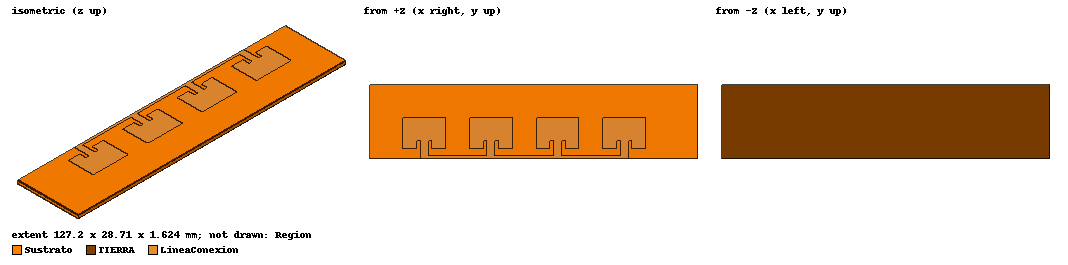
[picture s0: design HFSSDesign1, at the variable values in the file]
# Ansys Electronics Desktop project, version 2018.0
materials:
  vacuum: permittivity=1
  FR4_epoxy: permittivity=4.4 dielectric_loss_tangent=0.02
  copper: permeability=0.999991 conductivity=58000000
  air: permittivity=1.0006 permeability=1.0000004

design HFSSDesign1 (HFSS, DrivenModal, model units mm)
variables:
  lanbda = 51.72mm
  W = 16.53mm
  L = 11.78mm
  WL = 3mm
  LL = 6.95mm
  h = 1.524mm
  t = 0.05mm
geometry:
  Sustrato [FR4_epoxy] = box(corner=(0mm, 0mm, t), size=(((lanbda/2)+W)*3, (LL-(L/4)+L+(lanbda/4)), h))
  TIERRA [copper] = box(corner=(0mm, 0mm, 0mm), size=(((lanbda/2)+W)*3, (LL-(L/4)+L+(lanbda/4)), t))
  PARCHE = box(corner=(lanbda/4, LL-(L/4), (t+h)), size=(W, L, t))
  LINEA = box(corner=((lanbda/4)+(W/2)-(WL/2), 0mm, (h+t)), size=(wl, ll, t))
  CORTE = box(corner=(lanbda/4+W/2-WL, LL-L/4, t+h), size=(2*WL, L/4, t))
  PARCHE.subtract(CORTE)
  PARCHE.unite(LINEA)
  PUERTO = rectangle(corner=((lanbda/4)+(W/2)-(WL/2), 0mm, t), z_size=h, x_size=WL)
  Region [air] = region(absolute_offset=lanbda/4 on all sides)
  PARCHE1 = box(corner=((lanbda/4)*3, LL-(L/4), (t+h)), size=(W, L, t))
  CORTE1 = box(corner=((lanbda/4)*3+W/2-WL, LL-L/4, t+h), size=((2*WL), L/4, t))
  PARCHE1.subtract(CORTE1)
  LINEA1 = box(corner=((lanbda/4)*3+(W/2)-(WL/2), 0mm, (h+t)), size=(wl, ll, t))
  PARCHE1.unite(LINEA1)
  PARCHE2 = box(corner=((lanbda/4)*5, LL-(L/4), (t+h)), size=(W, L, t))
  CORTE2 = box(corner=((lanbda/4)*5+W/2-WL, LL-L/4, t+h), size=((2*WL), L/4, t))
  PARCHE2.subtract(CORTE2)
  LINEA2 = box(corner=((lanbda/4)*5+(W/2)-(WL/2), 0mm, (h+t)), size=(wl, ll, t))
  PARCHE2.unite(LINEA2)
  PARCHE3 = box(corner=((lanbda/4)*7, LL-(L/4), (t+h)), size=(W, L, t))
  CORTE3 = box(corner=((lanbda/4)*7+W/2-WL, LL-L/4, t+h), size=((2*WL), L/4, t))
  PARCHE3.subtract(CORTE3)
  LINEA3 = box(corner=((lanbda/4)*7+(W/2)-(WL/2), 0mm, (h+t)), size=(wl, ll, t))
  PARCHE3.unite(LINEA3)
  LineaConexion [copper] = box(corner=((lanbda/4)+(W/2)-(WL/2)+wl, 0mm, (h+t)), size=((((lanbda/4)+(W/8)-(wl/8))*2)*3-wl*4-wl/3, 1mm, t))
  LineaConexion.unite(PARCHE, PARCHE2, PARCHE1, PARCHE3)
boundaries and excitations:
  Rad1: Radiation Objects=Region
  1: Lumped Port Objects=PUERTO Modes{Mode1{IntLine{middle of PUERTO.edge(z at corner) -> middle of PUERTO.edge(z opposite corner)} CharImp=Zpi RenormImp=50ohm}} Impedance=50ohm
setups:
  Setup1: HfssDriven Frequency=5.8GHz MaxDeltaS=0.02 MaximumPasses=6 MinimumPasses=1 MinimumConvergedPasses=1 PercentRefinement=30 BasisOrder=1 PortAccuracy=2
    sweep Sweep3: 4GHz to 7GHz step 0.5GHz; Type=Interpolating InterpTolerance=0.5 InterpMaxSolns=250 InterpUsePortImped=false PassivityErrorTolerance=0.0001
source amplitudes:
  1:1: 1W 0deg
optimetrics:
  ParametricSetup1: Parametric Sim._Setups=[Setup1]
    sweep W: LIN 8.265mm 24.795mm 0.2mm
    sweep L: LIN 8.265mm 24.795mm 0.2mm
    sweep lanbda: LIN 8.265mm 24.795mm 0.2mm
    sweep WL: LIN 1mm 5mm 0.1mm
    sweep LL: LIN 1mm 7mm 0.1mm
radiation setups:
  Infinite Sphere1: Infinite Sphere Theta=-180deg..180deg step 2deg Phi=-180deg..180deg step 2deg
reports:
  S Parameter Plot 1: dB(S(1,1)) vs Freq on Setup1 : Sweep3; markers MX1 at x=5.7995169e+09
  Z Parameter Plot 1: re(Z(1,1)), im(Z(1,1)) vs Freq on Setup1 : Sweep3; markers MX1 at x=5.8e+09
  VSWR Plot 1: VSWR(1) vs Freq on Setup1 : Sweep3; markers MX1 at x=5.8043742e+09
  Active Z Parameter Plot 1: re(ActiveZ(1:1)), im(ActiveZ(1:1)) vs Freq on Setup1 : Sweep3 [lanbda=all W=all L=all WL=all LL=all]; markers MX1 at x=5.7952559e+09
